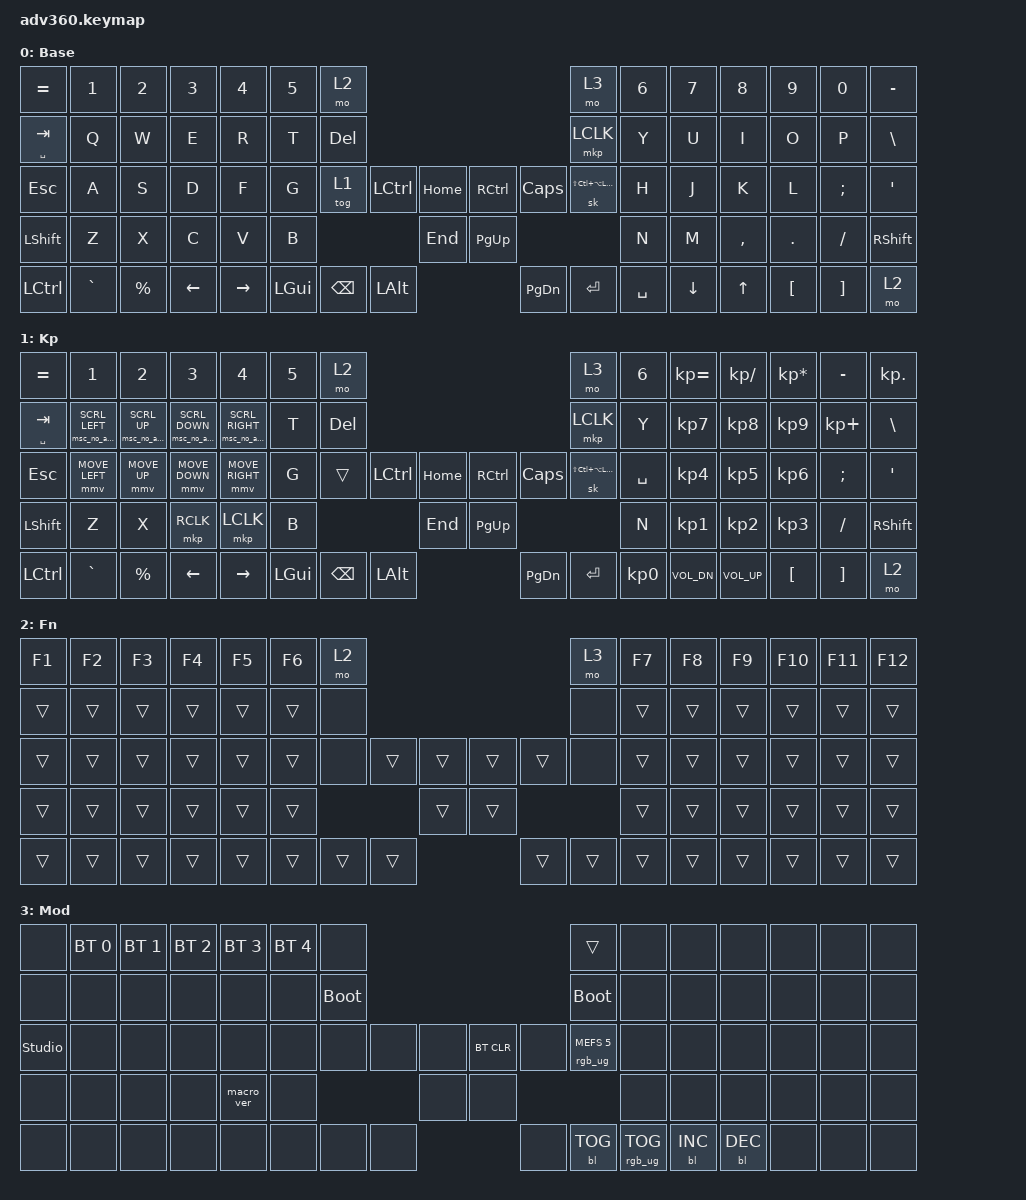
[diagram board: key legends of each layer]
#include <behaviors.dtsi>
#include <dt-bindings/zmk/keys.h>
#include <dt-bindings/zmk/bt.h>
#include <dt-bindings/zmk/rgb.h>
#include <dt-bindings/zmk/backlight.h>
#define ZMK_POINTING_DEFAULT_MOVE_VAL 1200  // default: 600
#define ZMK_POINTING_DEFAULT_SCRL_VAL 20    // default: 10
#include <dt-bindings/zmk/pointing.h>

#define HYPER LS(LC(LA(LGUI)))
#define HYP(key) LS(LC(LA(LG(key))))

/ {
    behaviors {
      #include "macros.dtsi"
      #include "version.dtsi"
      #ifndef VERSION_MACRO
      macro_ver: macro_ver {
          compatible = "zmk,behavior-macro";
          label = "macro_version";
          #binding-cells = <0>;
          bindings = <&kp RET>;
      };
      #endif

      hm: homerow_mods {
          compatible = "zmk,behavior-hold-tap";
          label = "HOMEROW_MODS";
          #binding-cells = <2>;
          tapping-term-ms = <200>;
          quick_tap_ms = <175>;
          flavor = "tap-preferred";
          bindings = <&kp>, <&kp>;
      };

      msc_no_acc: mouse_scroll {
          compatible = "zmk,behavior-input-two-axis";
          label = "Mouse Scroll No Acceleration";
          #binding-cells = <1>;
          x-input-code = <INPUT_REL_HWHEEL>;
          y-input-code = <INPUT_REL_WHEEL>;
          time-to-max-speed-ms = <0>;
          acceleration-exponent = <0>;
      };
    };

  keymap {
    compatible = "zmk,keymap";

    default_layer {
      display-name = "Base";
      bindings = <
        &kp EQUAL     &kp N1    &kp N2    &kp N3   &kp N4    &kp N5 &mo 2                                                             &mo 3     &kp N6 &kp N7   &kp N8    &kp N9   &kp N0   &kp MINUS
        &mt SPACE TAB &kp Q     &kp W     &kp E    &kp R     &kp T  &kp DEL                                                           &mkp LCLK &kp Y  &kp U    &kp I     &kp O    &kp P    &kp BSLH
        &kp ESC       &kp A     &kp S     &kp D    &kp F     &kp G  &tog 1           &kp LCTRL &kp HOME &kp RCTRL &kp CAPS            &sk HYPER &kp H  &kp J    &kp K     &kp L    &kp SEMI &kp SQT
        &kp LSHFT     &kp Z     &kp X     &kp C    &kp V     &kp B                             &kp END  &kp PG_UP                               &kp N  &kp M    &kp COMMA &kp DOT  &kp FSLH &kp RSHFT
        &kp LCTRL     &kp GRAVE &kp PRCNT &kp LEFT &kp RIGHT                &kp LGUI &kp BSPC  &kp LALT &kp PG_DN &kp ENTER &kp SPACE                  &kp DOWN &kp UP    &kp LBKT &kp RBKT &mo 2
      >;
    };
    keypad {
      display-name = "Kp";
      bindings = <
        &kp EQUAL     &kp N1                &kp N2              &kp N3                &kp N4                 &kp N5 &mo 2                                                       &mo 3     &kp N6    &kp KP_EQUAL &kp KP_DIVIDE &kp KP_MULTIPLY &kp MINUS   &kp KP_DOT
        &mt SPACE TAB &msc_no_acc SCRL_LEFT &msc_no_acc SCRL_UP &msc_no_acc SCRL_DOWN &msc_no_acc SCRL_RIGHT &kp T  &kp DEL                                                     &mkp LCLK &kp Y     &kp KP_N7    &kp KP_N8     &kp KP_N9       &kp KP_PLUS &kp BSLH
        &kp ESC       &mmv MOVE_LEFT        &mmv MOVE_UP        &mmv MOVE_DOWN        &mmv MOVE_RIGHT        &kp G  &trans     &kp LCTRL &kp HOME &kp RCTRL &kp CAPS            &sk HYPER &kp SPACE &kp KP_N4    &kp KP_N5     &kp KP_N6       &kp SEMI    &kp SQT
        &kp LSHFT     &kp Z                 &kp X               &mkp RCLK             &mkp LCLK              &kp B                       &kp END  &kp PG_UP                               &kp N     &kp KP_N1    &kp KP_N2     &kp KP_N3       &kp FSLH    &kp RSHFT
        &kp LCTRL     &kp GRAVE             &kp PRCNT           &kp LEFT              &kp RIGHT                       &kp LGUI &kp BSPC  &kp LALT &kp PG_DN &kp ENTER &kp KP_N0                     &kp C_VOL_DN &kp C_VOL_UP  &kp LBKT        &kp RBKT    &mo 2
      >;
    };
    fn {
      display-name = "Fn";
      bindings = <
        &kp F1 &kp F2 &kp F3 &kp F4 &kp F5 &kp F6  &mo 2                                           &mo 3 &kp F7 &kp F8 &kp F9 &kp F10 &kp F11 &kp F12
        &trans &trans &trans &trans &trans &trans  &none                                           &none &trans &trans &trans &trans  &trans  &trans
        &trans &trans &trans &trans &trans &trans  &none        &trans &trans &trans &trans        &none &trans &trans &trans &trans  &trans  &trans
        &trans &trans &trans &trans &trans &trans                      &trans &trans                     &trans &trans &trans &trans  &trans  &trans
        &trans &trans &trans &trans &trans               &trans &trans &trans &trans &trans &trans              &trans &trans &trans  &trans  &trans
      >;
    };
    mod {
      display-name = "Mod";
      bindings = <
        &none &bt BT_SEL 0 &bt BT_SEL 1 &bt BT_SEL 2 &bt BT_SEL 3 &bt BT_SEL 4 &none                                                                     &trans                 &none        &none        &none        &none &none &none
        &none &none        &none        &none        &none        &none        &bootloader                                                               &bootloader            &none        &none        &none        &none &none &none
        &studio_unlock &none        &none        &none        &none        &none        &none                   &none &none &bt BT_CLR &none                      &rgb_ug RGB_MEFS_CMD 5 &none        &none        &none        &none &none &none
        &none &none        &none        &none        &macro_ver   &none                                      &none &none                                                        &none        &none        &none        &none &none &none
        &none &none        &none        &none        &none                                       &none &none &none &none      &bl BL_TOG &rgb_ug RGB_TOG                                     &bl BL_INC   &bl BL_DEC   &none &none &none
      >;
    };
    extra1 { 
      display-name = "Extra";    
      status = "reserved";
    };

    extra2 { 
      display-name = "Extra";    
      status = "reserved";
    };

    extra3 { 
      display-name = "Extra";    
      status = "reserved";
    };

    extra4 { 
      display-name = "Extra";    
      status = "reserved";
    };
  };
};                       
